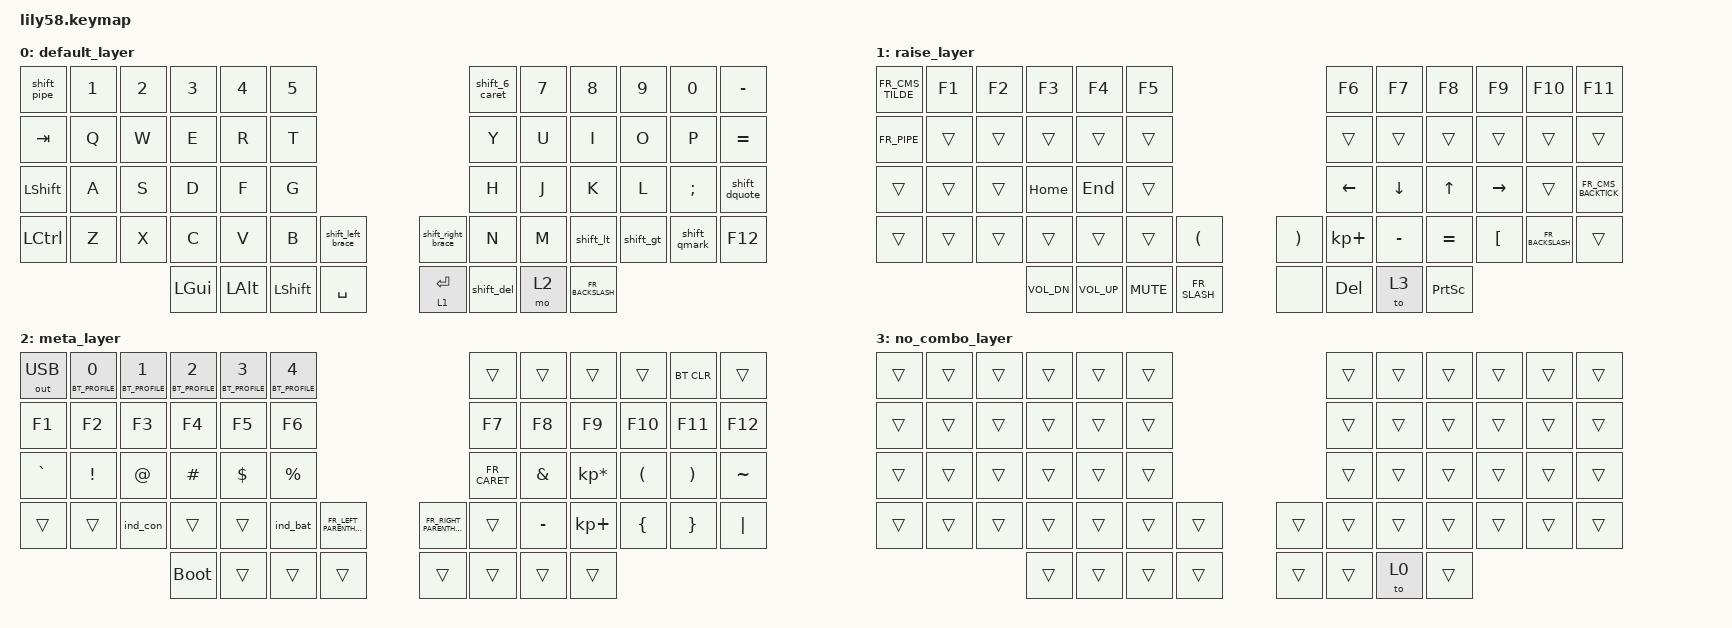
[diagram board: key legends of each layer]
/*
 * Copyright (c) 2020 The ZMK Contributors
 *
 * SPDX-License-Identifier: MIT
 */

#include "keys_fr_canadian_standard.h"
#include <behaviors.dtsi>
#include <behaviors/rgbled_widget.dtsi>
#include <dt-bindings/zmk/bt.h>
#include <dt-bindings/zmk/ext_power.h>
#include <dt-bindings/zmk/keys.h>
#include <dt-bindings/zmk/outputs.h>

/ {
    macros {
        BT_PROFILE: BT_PROFILE {
            // ...

            compatible = "zmk,behavior-macro-one-param";
            #binding-cells = <1>; // Must be 1
            bindings = <&out OUT_BLE &macro_param_1to2 &bt BT_SEL MACRO_PLACEHOLDER>;
        };

        FR_CMS_O_CIR: FR_CMS_O_CIR {
            compatible = "zmk,behavior-macro";
            #binding-cells = <0>;
            bindings = <&kp FR_CARET &kp FR_O>;
            label = "FR_CMS_O_CIR";
        };

        FR_CMS_E_CIR: FR_CMS_E_CIR {
            compatible = "zmk,behavior-macro";
            #binding-cells = <0>;
            bindings = <&kp FR_CARET &kp FR_E>;
            label = "FR_CMS_E_CIR";
        };

        FR_CMS_TILDE: FR_CMS_TILDE {
            compatible = "zmk,behavior-macro";
            #binding-cells = <0>;
            bindings = <&kp FR_TILDE &kp SPACE>;
            label = "FR_CMS_TILDE";
        };

        FR_CMS_BACKTICK: FR_CMS_BACKTICK {
            compatible = "zmk,behavior-macro";
            #binding-cells = <0>;
            bindings = <&kp FR_GRAVE &kp SPACE>;
            label = "FR_CMS_BACKTICK";
        };

        FR_CMS_A_CIRC: FR_CMS_A_CIRC {
            compatible = "zmk,behavior-macro";
            #binding-cells = <0>;
            bindings = <&kp FR_CARET &kp FR_A>;
            label = "FR_CMS_A_CIRC";
        };

        FR_CMS_I_CIRC: FR_CMS_I_CIRC {
            compatible = "zmk,behavior-macro";
            #binding-cells = <0>;
            bindings = <&kp FR_CARET &kp FR_I>;
            label = "FR_CMS_I_CIRC";
        };

        FR_CMS_U_CIRC: FR_CMS_U_CIRC {
            compatible = "zmk,behavior-macro";
            #binding-cells = <0>;
            bindings = <&kp FR_CARET &kp FR_U>;
            label = "FR_CMS_U_CIRC";
        };
    };

    combos {
        compatible = "zmk,combos";

        EACUTE {
            bindings = <&kp FR_E_ACUTE>;
            key-positions = <15 16>;
            layers = <0>;
        };

        EGRAVE {
            bindings = <&kp FR_E_GRAVE>;
            key-positions = <15 14>;
            layers = <0>;
        };

        AGRAVE {
            bindings = <&kp FR_A_GRAVE>;
            key-positions = <25 26>;
            layers = <0>;
        };

        CCEDILA {
            bindings = <&kp FR_C_CEDILLA>;
            key-positions = <38 39>;
            layers = <0>;
        };

        UGRAVE {
            bindings = <&kp FR_U_GRAVE>;
            key-positions = <18 19>;
            layers = <0>;
        };

        END_COMBO {
            bindings = <&FR_CMS_O_CIR>;
            key-positions = <22 21 20>;
            layers = <0>;
        };

        ECIRC {
            bindings = <&FR_CMS_E_CIR>;
            key-positions = <15 14 16>;
            layers = <0>;
        };

        ACIRC {
            bindings = <&FR_CMS_A_CIRC>;
            key-positions = <25 26 24>;
            layers = <0>;
        };

        OCIRC {
            bindings = <&FR_CMS_O_CIR>;
            key-positions = <22 20 21>;
            layers = <0>;
        };

        ICIRC {
            bindings = <&FR_CMS_I_CIRC>;
            key-positions = <19 20 21>;
            layers = <0>;
        };

        UCIRC {
            bindings = <&FR_CMS_U_CIRC>;
            key-positions = <18 19 20>;
            layers = <0>;
        };
    };

    behaviors {
        shift_lt: shift_lt {
            compatible = "zmk,behavior-mod-morph";
            label = "SHIFT_LT";
            bindings = <&kp FR_COMMA>, <&kp FR_LESS_THAN>;

            #binding-cells = <0>;
            mods = <(MOD_LSFT)>;
        };

        shift_gt: shift_gt {
            compatible = "zmk,behavior-mod-morph";
            label = "SHIFT_GT";
            bindings = <&kp FR_DOT>, <&kp FR_GREATER_THAN>;

            #binding-cells = <0>;
            mods = <(MOD_LSFT)>;
        };

        shift_at: shift_at {
            compatible = "zmk,behavior-mod-morph";
            label = "SHIFT_AT";
            bindings = <&kp FR_N2>, <&kp FR_AT>;

            #binding-cells = <0>;
            mods = <(MOD_LSFT)>;
        };

        shift_pound: shift_pound {
            compatible = "zmk,behavior-mod-morph";
            label = "SHIFT_POUND";
            bindings = <&kp FR_N3>, <&kp FR_POUND>;

            #binding-cells = <0>;
            mods = <(MOD_LSFT)>;
        };

        shift_del: shift_del {
            compatible = "zmk,behavior-mod-morph";
            label = "SHIFT_DEL";
            bindings = <&kp BACKSPACE>, <&kp DEL>;

            #binding-cells = <0>;
            mods = <(MOD_LSFT)>;
        };

        shift_left_brace: shift_left_brace {
            compatible = "zmk,behavior-mod-morph";
            label = "SHIFT_LEFT_BRACE";
            bindings = <&kp FR_LEFT_BRACKET>, <&kp FR_LEFT_BRACE>;

            #binding-cells = <0>;
            mods = <(MOD_LSFT)>;
        };

        shift_right_brace: shift_right_brace {
            compatible = "zmk,behavior-mod-morph";
            label = "SHIFT_RIGHT_BRACE";
            bindings = <&kp FR_RIGHT_BRACKET>, <&kp FR_RIGHT_BRACE>;

            #binding-cells = <0>;
            mods = <(MOD_LSFT)>;
        };

        shift_qmark: shift_qmark {
            compatible = "zmk,behavior-mod-morph";
            label = "SHIFT_QMARK";
            bindings = <&kp FR_SLASH>, <&kp FR_QUESTION>;

            #binding-cells = <0>;
            mods = <(MOD_LSFT)>;
            keep-mods = <(MOD_LSFT)>;
        };

        shift_dquote: shift_dquote {
            compatible = "zmk,behavior-mod-morph";
            label = "SHIFT_DQUOTE";
            bindings = <&kp FR_SINGLE_QUOTE>, <&kp FR_DOUBLE_QUOTES>;

            #binding-cells = <0>;
            mods = <(MOD_LSFT)>;
            keep-mods = <(MOD_LSFT)>;
        };

        shift_tilde: shift_tilde {
            compatible = "zmk,behavior-mod-morph";
            label = "SHIFT_TILDE";
            bindings = <&kp FR_GRAVE>, <&kp FR_TILDE>;

            #binding-cells = <0>;
            mods = <(MOD_LSFT)>;
        };

        shift_pipe: shift_pipe {
            compatible = "zmk,behavior-mod-morph";
            label = "SHIFT_PIPE";
            bindings = <&kp ESC>, <&kp FR_PIPE>;

            #binding-cells = <0>;
            mods = <(MOD_LSFT)>;
        };

        shift_6_caret: shift_6_caret {
            compatible = "zmk,behavior-mod-morph";
            label = "SHIFT_6_CARET";
            bindings = <&kp N6>, <&kp FR_CARET>;

            #binding-cells = <0>;
            mods = <(MOD_LSFT)>;
        };
    };

    keymap {
        compatible = "zmk,keymap";

        default_layer {
            bindings = <
&shift_pipe     &kp N1  &kp N2  &kp N3    &kp N4    &kp N5                                                   &shift_6_caret  &kp N7  &kp N8            &kp N9     &kp N0        &kp MINUS
&kp TAB         &kp Q   &kp W   &kp E     &kp R     &kp T                                                    &kp Y           &kp U   &kp I             &kp O      &kp P         &kp EQUAL
&kp LEFT_SHIFT  &kp A   &kp S   &kp D     &kp F     &kp G                                                    &kp H           &kp J   &kp K             &kp L      &kp SEMI      &shift_dquote
&kp LCTRL       &kp Z   &kp X   &kp C     &kp V     &kp B           &shift_left_brace    &shift_right_brace  &kp N           &kp M   &shift_lt         &shift_gt  &shift_qmark  &kp F12
                                &kp LGUI  &kp LALT  &kp LEFT_SHIFT  &kp SPACE            &lt 1 ENTER         &shift_del      &mo 2   &kp FR_BACKSLASH
            >;
        };

        raise_layer {
            bindings = <
&FR_CMS_TILDE  &kp F1  &kp F2  &kp F3    &kp F4   &kp F5                                                 &kp F6       &kp F7     &kp F8           &kp F9     &kp F10           &kp F11
&kp FR_PIPE    &trans  &trans  &trans    &trans   &trans                                                 &trans       &trans     &trans           &trans     &trans            &trans
&trans         &trans  &trans  &kp HOME  &kp END  &trans                                                 &kp LEFT     &kp DOWN   &kp UP           &kp RIGHT  &trans            &FR_CMS_BACKTICK
&trans         &trans  &trans  &trans    &trans   &trans  &kp LEFT_PARENTHESIS    &kp RIGHT_PARENTHESIS  &kp KP_PLUS  &kp MINUS  &kp EQUAL        &kp LBKT   &kp FR_BACKSLASH  &trans
                               &kp C_VOL_DN    &kp C_VOL_UP   &kp C_MUTE  &kp FR_SLASH            &none                  &kp DEL      &to 3      &kp PRINTSCREEN
            >;
        };

        meta_layer {
            bindings = <
&out OUT_USB  &BT_PROFILE 0     &BT_PROFILE 1      &BT_PROFILE 2      &BT_PROFILE 3  &BT_PROFILE 4                                                       &trans        &trans     &trans           &trans    &bt BT_CLR  &trans
&kp F1        &kp F2            &kp F3             &kp F4             &kp F5         &kp F6                                                              &kp F7        &kp F8     &kp F9           &kp F10   &kp F11     &kp F12
&kp GRAVE     &kp EXCL          &kp AT             &kp HASH           &kp DOLLAR     &kp PRCNT                                                           &kp FR_CARET  &kp AMPS   &kp KP_MULTIPLY  &kp LPAR  &kp RPAR    &kp TILDE
&trans        &trans            &ind_con           &trans             &trans         &ind_bat       &kp FR_LEFT_PARENTHESIS    &kp FR_RIGHT_PARENTHESIS  &trans        &kp MINUS  &kp KP_PLUS      &kp LBRC  &kp RBRC    &kp PIPE
                                                   &bootloader        &trans         &trans         &trans                     &trans                    &trans        &trans     &trans
            >;
        };

        no_combo_layer {
            bindings = <
&trans  &trans  &trans  &trans  &trans  &trans                    &trans  &trans  &trans  &trans  &trans  &trans
&trans  &trans  &trans  &trans  &trans  &trans                    &trans  &trans  &trans  &trans  &trans  &trans
&trans  &trans  &trans  &trans  &trans  &trans                    &trans  &trans  &trans  &trans  &trans  &trans
&trans  &trans  &trans  &trans  &trans  &trans  &trans    &trans  &trans  &trans  &trans  &trans  &trans  &trans
                        &trans  &trans  &trans  &trans    &trans  &trans  &to 0   &trans
            >;
        };
    };
};
